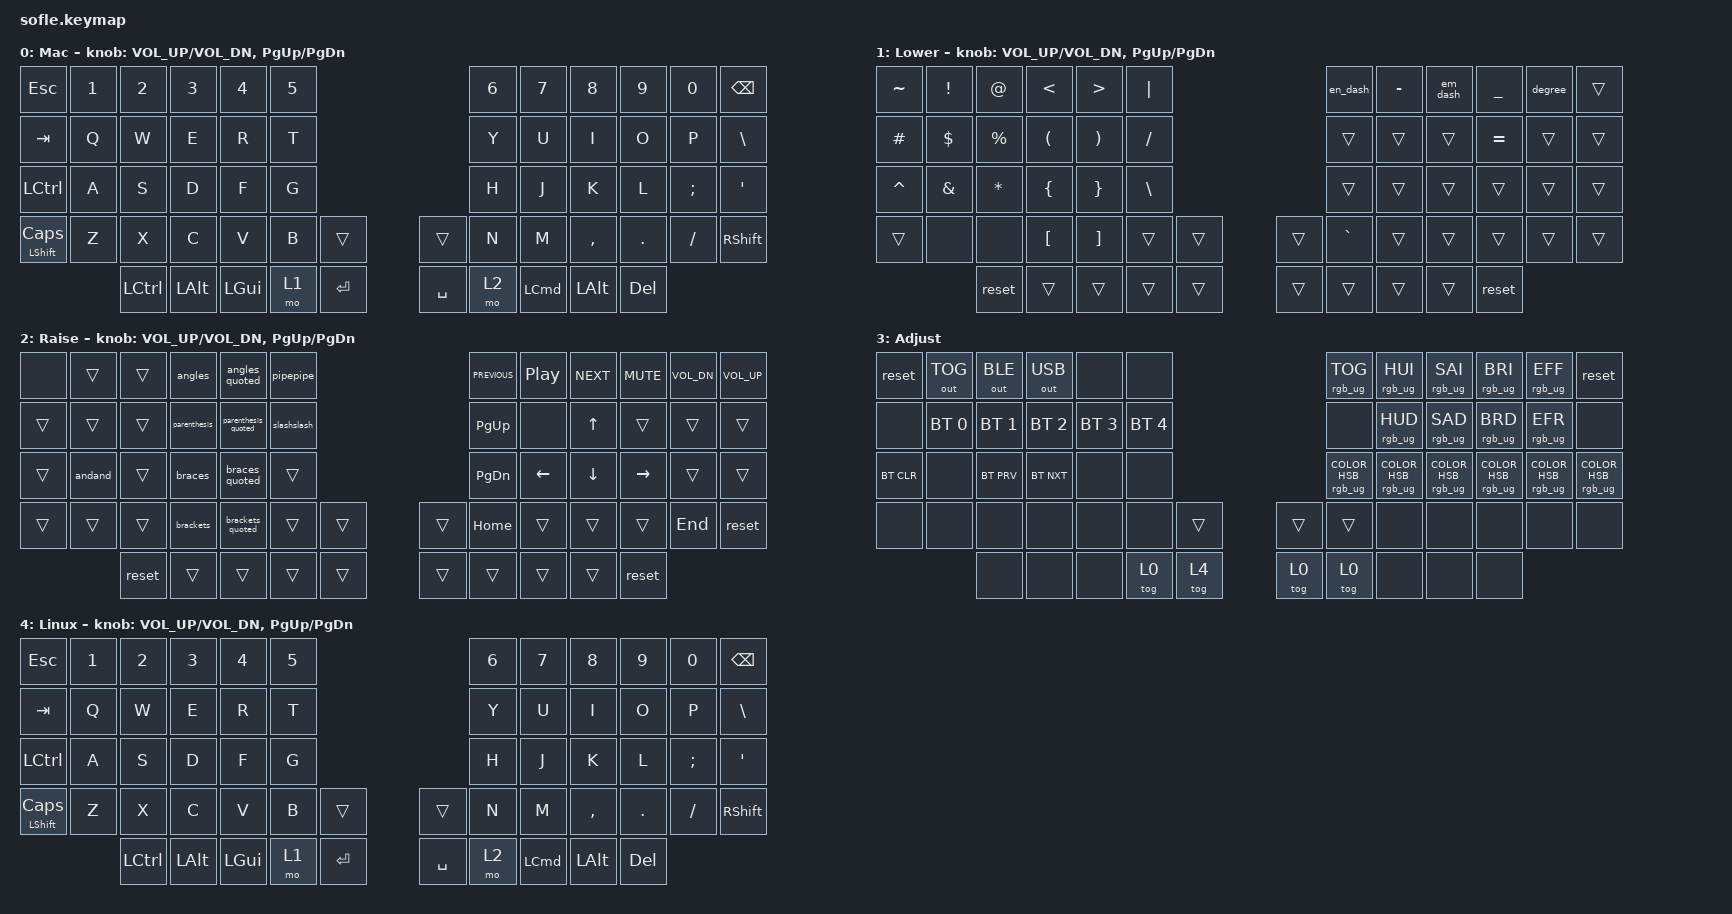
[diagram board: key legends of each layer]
/*
 * Copyright (c) 2020 The ZMK Contributors
 *
 * SPDX-License-Identifier: MIT
 */

// ZMK includes
#include <behaviors.dtsi>
#include <dt-bindings/zmk/keys.h>
#include <dt-bindings/zmk/bt.h>
#include <dt-bindings/zmk/rgb.h>
#include <dt-bindings/zmk/ext_power.h>
#include <dt-bindings/zmk/outputs.h>

#include "common/headers.h"

/ {
    behaviors {
        #include "common/behaviors.dtsi"
    };
    conditional_layers {
        #include "common/conditional_layers.dtsi"
    };
    macros {
        #include "common/macros.dtsi"
    };

    keymap {
        compatible = "zmk,keymap";

        mac_layer {
            label = "Mac";
            bindings = <
                 &kp ESC  &kp N1     &kp N2    &kp N3    &kp N4  &kp N5                      &kp N6            &kp N7        &kp N8      &kp N9    &kp N0   &kp BSPC
                 &kp TAB   &kp Q      &kp W     &kp E     &kp R   &kp T                       &kp Y             &kp U         &kp I       &kp O     &kp P   &kp BSLH
               &kp LCTRL   &kp A      &kp S     &kp D     &kp F   &kp G                       &kp H             &kp J         &kp K       &kp L  &kp SEMI    &kp SQT
 &mt LEFT_SHIFT CAPSLOCK   &kp Z      &kp X     &kp C     &kp V   &kp B   &trans     &trans   &kp N             &kp M     &kp COMMA  &kp PERIOD  &kp FSLH  &kp RSHFT
                                  &kp LCTRL  &kp LALT  &kp LGUI   &mo 1  &kp RET  &kp SPACE   &mo 2  &kp LEFT_COMMAND  &kp LEFT_ALT     &kp DEL
            >;

            sensor-bindings = <&inc_dec_kp C_VOL_UP C_VOL_DN &inc_dec_kp PG_UP PG_DN>;
        };

        lower_layer {
            label = "Lower";

            bindings = <
 &kp TILDE  &kp EXCLAMATION       &kp AT         &kp LESS_THAN       &kp GREATER_THAN       &kp PIPE                   &en_dash         &kp MINUS  &em_dash  &kp UNDERSCORE  &degree  &trans
 &kp POUND       &kp DOLLAR  &kp PERCENT  &kp LEFT_PARENTHESIS  &kp RIGHT_PARENTHESIS      &kp SLASH                     &trans            &trans    &trans       &kp EQUAL   &trans  &trans
 &kp CARET         &kp AMPS    &kp ASTRK        &kp LEFT_BRACE        &kp RIGHT_BRACE  &kp BACKSLASH                     &trans            &trans    &trans          &trans   &trans  &trans
    &trans            &none        &none      &kp LEFT_BRACKET      &kp RIGHT_BRACKET         &trans  &trans  &trans  &kp GRAVE  &trans    &trans          &trans   &trans  &trans
                                  &reset                &trans                 &trans         &trans  &trans  &trans     &trans            &trans    &trans          &reset
            >;

            sensor-bindings = <&inc_dec_kp C_VOL_UP C_VOL_DN &inc_dec_kp PG_UP PG_DN>;
        };

        raise_layer {
            label = "Raise";
            bindings = <
  &none   &trans  &trans       &angles       &angles_quoted    &pipepipe                  &kp C_PREVIOUS  &kp C_PLAY_PAUSE  &kp C_NEXT  &kp C_MUTE  &kp C_VOL_DN  &kp C_VOLUME_UP
 &trans   &trans  &trans  &parenthesis  &parenthesis_quoted  &slashslash                       &kp PG_UP             &none      &kp UP      &trans        &trans           &trans
 &trans  &andand  &trans       &braces       &braces_quoted       &trans                       &kp PG_DN          &kp LEFT    &kp DOWN   &kp RIGHT        &trans           &trans
 &trans   &trans  &trans     &brackets     &brackets_quoted       &trans  &trans  &trans        &kp HOME            &trans      &trans      &trans       &kp END           &reset
                  &reset        &trans               &trans       &trans  &trans  &trans          &trans            &trans      &trans      &reset
            >;

            sensor-bindings = <&inc_dec_kp C_VOL_UP C_VOL_DN &inc_dec_kp PG_UP PG_DN>;
        };

        adjust_layer {
            label = "Adjust";

            bindings = <
     &reset  &out OUT_TOG  &out OUT_BLE  &out OUT_USB         &none         &none                                  &rgb_ug RGB_TOG                  &rgb_ug RGB_HUI                &rgb_ug RGB_SAI                  &rgb_ug RGB_BRI                   &rgb_ug RGB_EFF                           &reset
      &none  &bt BT_SEL 0  &bt BT_SEL 1  &bt BT_SEL 2  &bt BT_SEL 3  &bt BT_SEL 4                                            &none                  &rgb_ug RGB_HUD                &rgb_ug RGB_SAD                  &rgb_ug RGB_BRD                   &rgb_ug RGB_EFR                            &none
 &bt BT_CLR         &none    &bt BT_PRV    &bt BT_NXT         &none         &none                  &rgb_ug RGB_COLOR_HSB(180,0,20)  &rgb_ug RGB_COLOR_HSB(117,0,40)  &rgb_ug RGB_COLOR_HSB(0,0,60)  &rgb_ug RGB_COLOR_HSB(300,0,88)  &rgb_ug RGB_COLOR_HSB(260,61,63)  &rgb_ug RGB_COLOR_HSB(58,53,81)
      &none         &none         &none         &none         &none         &none  &trans  &trans                           &trans                            &none                          &none                            &none                             &none                            &none
                                  &none         &none         &none        &tog 0  &tog 4  &tog 0                           &tog 0                            &none                          &none                            &none
            >;
        };
        linux_layer {
            label = "Linux";
            bindings = <
                 &kp ESC  &kp N1     &kp N2    &kp N3    &kp N4  &kp N5                      &kp N6            &kp N7        &kp N8      &kp N9    &kp N0   &kp BSPC
                 &kp TAB   &kp Q      &kp W     &kp E     &kp R   &kp T                       &kp Y             &kp U         &kp I       &kp O     &kp P   &kp BSLH
               &kp LCTRL   &kp A      &kp S     &kp D     &kp F   &kp G                       &kp H             &kp J         &kp K       &kp L  &kp SEMI    &kp SQT
 &mt LEFT_SHIFT CAPSLOCK   &kp Z      &kp X     &kp C     &kp V   &kp B   &trans     &trans   &kp N             &kp M     &kp COMMA  &kp PERIOD  &kp FSLH  &kp RSHFT
                                  &kp LCTRL  &kp LALT  &kp LGUI   &mo 1  &kp RET  &kp SPACE   &mo 2  &kp LEFT_COMMAND  &kp LEFT_ALT     &kp DEL
            >;

            sensor-bindings = <&inc_dec_kp C_VOL_UP C_VOL_DN &inc_dec_kp PG_UP PG_DN>;
        };
    };
};
